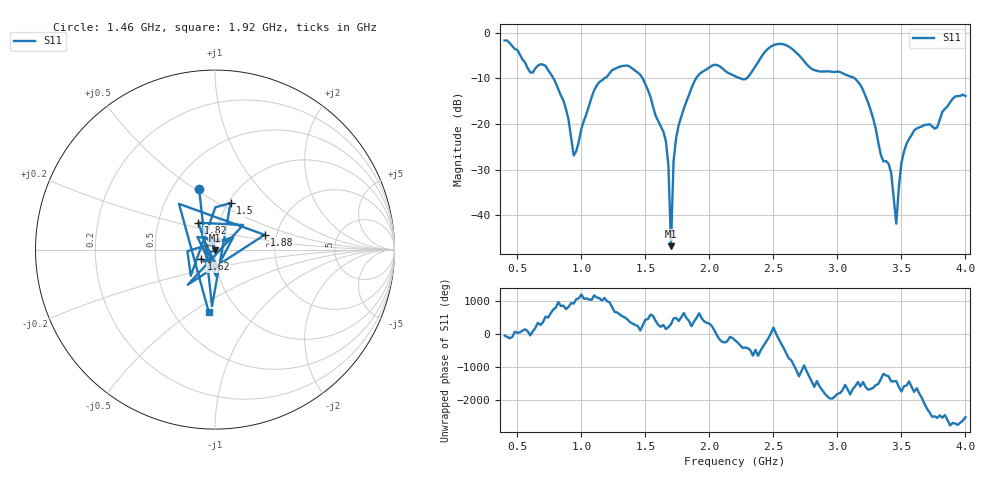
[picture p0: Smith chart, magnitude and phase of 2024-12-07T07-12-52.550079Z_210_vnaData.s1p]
!Created with skrf (http://scikit-rf.org).
# Hz S RI R 50.0
!freq ReS11 ImS11
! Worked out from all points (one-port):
!   181 points, 400 MHz to 4 GHz, reference 50 ohm
!   lowest |S11| = -46.7 dB at 1.7 GHz (marker M1), VSWR 1.01, Z = 50.2 - j0.419 ohm
!   |S11| at or under -10 dB: 782.3 MHz to 1.178 GHz (395.6 MHz wide, 40.4 % of centre); 1.48 GHz to 1.896 GHz (416.2 MHz wide, 24.7 % of centre); 3.136 GHz to end of sweep (the widest 3 of 4)
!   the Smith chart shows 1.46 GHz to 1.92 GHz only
!   S11 on the Smith chart (normalised r, x): 1.46 GHz: 0.68, +0.52; 1.5 GHz: 1.03, +0.58; 1.62 GHz: 0.85, -0.09; 1.82 GHz: 0.80, +0.25; 1.88 GHz: 1.73, +0.31; 1.92 GHz: 0.74, -0.59
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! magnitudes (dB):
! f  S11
! 400 MHz  -1.7
! 600 MHz  -8.7
! 720 MHz  -7.2
! 860 MHz  -14.8
! 940 MHz  -26.9
! 1.1 GHz  -12.5
! 1.3 GHz  -7.4
! 1.46 GHz  -9.2
! 1.5 GHz  -11.3
! 1.62 GHz  -20.5
! 1.68 GHz  -29.2
! 1.7 GHz  -46.7
! 1.72 GHz  -28.1
! 1.76 GHz  -20.2
! 1.82 GHz  -15.1
! 1.88 GHz  -10.8
! 1.92 GHz  -9.1
! 2.2 GHz  -9.5
! 2.5 GHz  -2.7
! 2.66 GHz  -3.8
! 3.1 GHz  -9.6
! 3.2 GHz  -12.5
! 3.34 GHz  -26.8
! 3.4 GHz  -28.7
! 3.46 GHz  -41.8
! 3.5 GHz  -28.5
! 3.56 GHz  -23.2
! 4 GHz  -13.8
